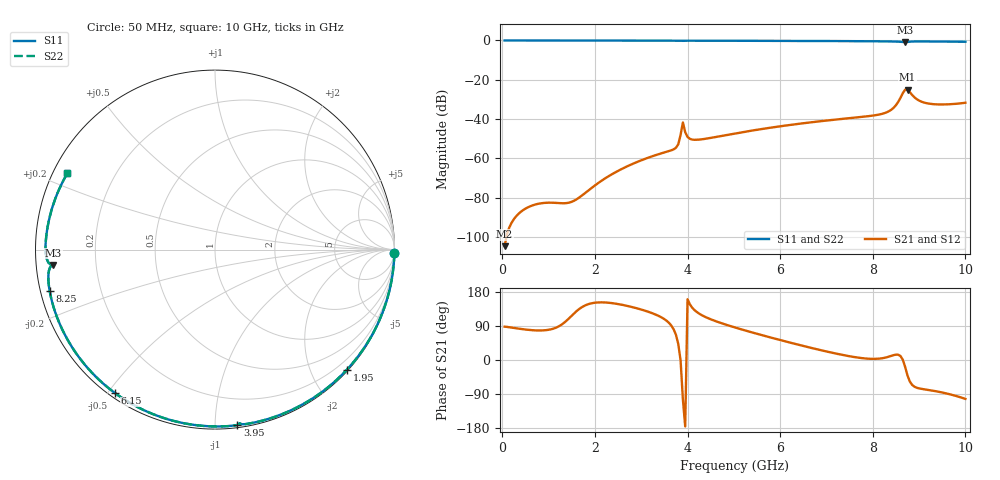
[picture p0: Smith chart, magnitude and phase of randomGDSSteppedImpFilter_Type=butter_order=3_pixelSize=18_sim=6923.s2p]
! freq	dB(S11)	phase(S11)	dB(S12)	phase(S12)
!  dB(S21)	phase(S21)	dB(S22)	phase(S22)
!S-par simulation data
#  GHz  S  DB  R 50
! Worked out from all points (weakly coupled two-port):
!   200 points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, 50 MHz to 10 GHz, reference 50 ohm
!   highest |S21| = -25.01 dB at 8.75 GHz (marker M1); lowest = -104.7 dB at 50 MHz (marker M2)
!   lowest |S11| = -0.9 dB at 8.7 GHz (marker M3), VSWR 20.24, Z = 2.48 - j2.37 ohm
!   |S11| at or under -10 dB: nowhere
!   |S22| runs from -0.9 to 0.0 dB; largest |S21 - S12| = 0
!   S11 on the Smith chart (normalised r, x): 50 MHz: open; 1.95 GHz: 0.02, -2.58; 3.95 GHz: 0.02, -1.13; 6.15 GHz: 0.02, -0.52; 8.25 GHz: 0.03, -0.12; 10 GHz: 0.04, +0.24
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0.05  -0.00 -1.1  -104.71 87.9  -104.71 87.9  -0.00 -1.1
1.65  -0.05 -36.0  -80.14 133.6  -80.14 133.6  -0.05 -36.0
1.75  -0.05 -38.1  -78.38 141.6  -78.38 141.6  -0.05 -38.1
1.95  -0.05 -42.3  -74.68 150.2  -74.68 150.2  -0.05 -42.3
2.6  -0.07 -55.9  -65.17 145.3  -65.17 145.3  -0.07 -55.9
3.4  -0.10 -72.2  -57.71 114.9  -57.71 114.9  -0.10 -72.2
3.75  -0.11 -79.2  -54.64 66.5  -54.64 66.5  -0.11 -79.2
3.8  -0.12 -80.2  -52.85 42.2  -52.85 42.2  -0.12 -80.2
3.9  -0.20 -81.9  -41.74 -104.4  -41.74 -104.4  -0.20 -81.9
3.95  -0.13 -82.8  -46.71 -175.4  -46.71 -175.4  -0.13 -82.8
4.15  -0.12 -86.8  -50.58 131.7  -50.58 131.7  -0.12 -86.8
5.05  -0.16 -104.1  -47.24 84.9  -47.24 84.9  -0.16 -104.1
6.15  -0.23 -124.8  -43.21 47.9  -43.21 47.9  -0.23 -124.8
6.7  -0.27 -135.2  -41.57 31.1  -41.57 31.1  -0.27 -135.2
8.25  -0.45 -166.1  -37.01 5.7  -37.01 5.7  -0.45 -166.1
8.35  -0.48 -168.3  -36.00 8.9  -36.00 8.9  -0.48 -168.3
8.5  -0.56 -171.7  -32.95 14.2  -32.95 14.2  -0.56 -171.7
8.7  -0.86 -174.5  -25.02 -18.7  -25.02 -18.7  -0.86 -174.6
8.75  -0.75 -174.6  -25.01 -40.9  -25.01 -40.9  -0.75 -174.6
8.95  -0.50 -179.7  -29.89 -73.2  -29.89 -73.2  -0.50 -179.8
9.15  -0.51 175.2  -31.87 -78.2  -31.87 -78.2  -0.51 175.2
10  -0.67 152.7  -31.70 -102.6  -31.70 -102.6  -0.67 152.6
